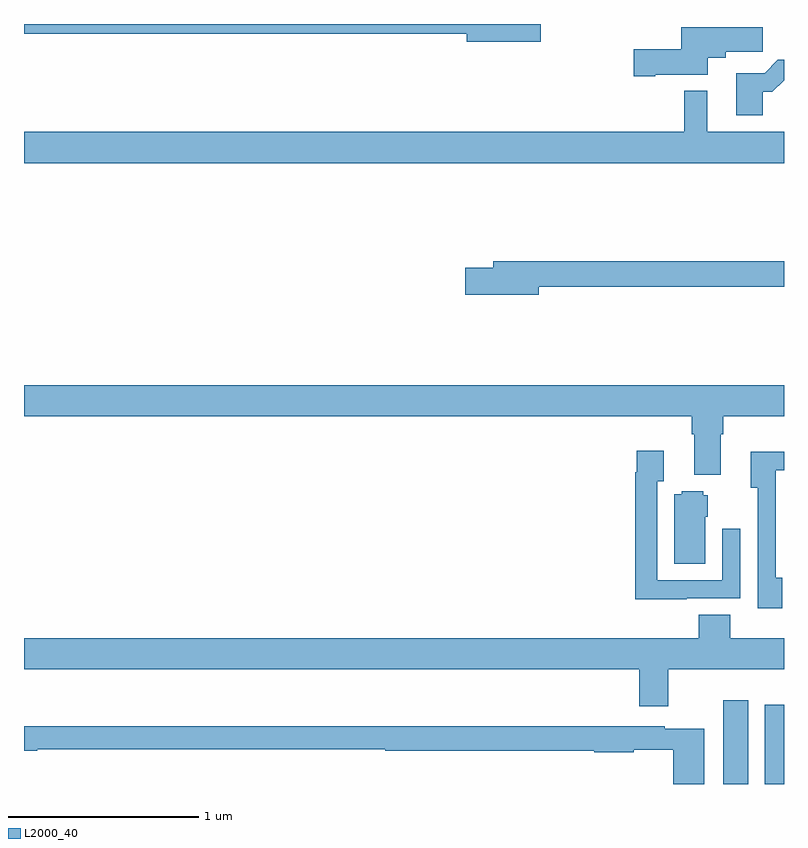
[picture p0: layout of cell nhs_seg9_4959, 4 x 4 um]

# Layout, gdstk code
import gdstk
lib = gdstk.Library(unit=1e-6, precision=1e-09)
def R(c, l, rs):  # rectangles x0, y0, x1, y1
    for r in rs: c.add(gdstk.rectangle(r[:2], r[2:], *l))
def P(c, l, *ps):  # polygons
    for p in ps: c.add(gdstk.Polygon(p, *l))
L2000_40 = (2000, 40)

nhs_seg9_4959 = lib.new_cell('nhs_seg9_4959')
R(nhs_seg9_4959, L2000_40, [(402.68,1178.5,402.811,1178.941), (402.899,1178.5,403,1178.917)])
P(nhs_seg9_4959, L2000_40, [(401.719,1182.5),(399,1182.5),(399,1182.448),(401.33,1182.448),(401.33,1182.406),(401.719,1182.406)],
  [(402.322,1182.233),(402.598,1182.233),(402.598,1182.323),(402.694,1182.323),(402.694,1182.355),(402.889,1182.355),(402.889,1182.484),(402.458,1182.484),(402.458,1182.368),(402.21,1182.368),(402.21,1182.226),(402.322,1182.226)],
  [(402.889,1182.143),(402.938,1182.143),(403,1182.205),(403,1182.311),(402.968,1182.311),(402.898,1182.241),(402.749,1182.241),(402.749,1182.021),(402.889,1182.021)],
  [(403,1181.932),(402.595,1181.932),(402.595,1182.148),(402.474,1182.148),(402.474,1181.932),(399,1181.932),(399,1181.768),(403,1181.768)],
  [(401.71,1181.116),(403,1181.116),(403,1181.252),(401.471,1181.252),(401.471,1181.216),(401.322,1181.216),(401.322,1181.074),(401.71,1181.074)],
  [(402.667,1180.34),(402.68,1180.34),(402.68,1180.436),(403,1180.436),(403,1180.6),(399,1180.6),(399,1180.436),(402.515,1180.436),(402.515,1180.34),(402.527,1180.34),(402.527,1180.127),(402.667,1180.127)],
  [(402.487,1179.477),(402.771,1179.477),(402.771,1179.844),(402.675,1179.844),(402.675,1179.573),(402.333,1179.573),(402.333,1180.094),(402.367,1180.094),(402.367,1180.255),(402.225,1180.255),(402.225,1180.142),(402.217,1180.142),(402.217,1179.473),(402.487,1179.473)],
  [(402.991,1179.586),(402.957,1179.586),(402.957,1180.152),(403,1180.152),(403,1180.25),(402.824,1180.25),(402.824,1180.058),(402.861,1180.058),(402.861,1179.426),(402.991,1179.426)],
  [(402.586,1179.906),(402.598,1179.906),(402.598,1180.02),(402.576,1180.02),(402.576,1180.042),(402.462,1180.042),(402.462,1180.024),(402.422,1180.024),(402.422,1179.658),(402.586,1179.658)],
  [(402.391,1179.104),(403,1179.104),(403,1179.268),(402.716,1179.268),(402.716,1179.392),(402.551,1179.392),(402.551,1179.268),(399,1179.268),(399,1179.104),(402.239,1179.104),(402.239,1178.91),(402.391,1178.91)],
  [(402.58,1178.791),(402.372,1178.791),(402.372,1178.803),(399,1178.803),(399,1178.674),(399.071,1178.674),(399.071,1178.682),(400.9,1178.682),(400.9,1178.674),(402,1178.674),(402,1178.666),(402.21,1178.666),(402.21,1178.681),(402.418,1178.681),(402.418,1178.5),(402.58,1178.5)])

lib.write_gds('nhs_seg9_4959.gds')
